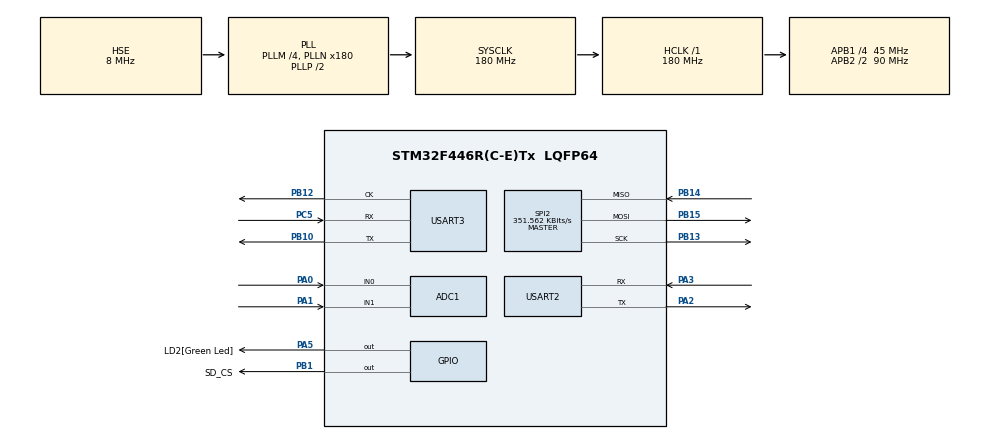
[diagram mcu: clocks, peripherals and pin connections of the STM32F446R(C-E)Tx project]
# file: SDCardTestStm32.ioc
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ADC1.Channel-1\#ChannelRegularConversion=ADC_CHANNEL_0
ADC1.Channel-2\#ChannelRegularConversion=ADC_CHANNEL_1
ADC1.ClockPrescaler=ADC_CLOCK_SYNC_PCLK_DIV4
ADC1.ContinuousConvMode=ENABLE
ADC1.DMAContinuousRequests=DISABLE
ADC1.EOCSelection=ADC_EOC_SINGLE_CONV
ADC1.ExternalTrigConv=ADC_SOFTWARE_START
ADC1.InjNumberOfConversion=0
ADC1.NbrOfConversion=2
ADC1.NbrOfConversionFlag=1
ADC1.Rank-1\#ChannelRegularConversion=1
ADC1.Rank-2\#ChannelRegularConversion=2
ADC1.SamplingTime-1\#ChannelRegularConversion=ADC_SAMPLETIME_28CYCLES
ADC1.SamplingTime-2\#ChannelRegularConversion=ADC_SAMPLETIME_28CYCLES
ADC1.ScanConvMode=ENABLE
ADC1.master=1
Dma.ADC1.0.Direction=DMA_PERIPH_TO_MEMORY
Dma.ADC1.0.FIFOMode=DMA_FIFOMODE_DISABLE
Dma.ADC1.0.Instance=DMA2_Stream0
Dma.ADC1.0.MemDataAlignment=DMA_MDATAALIGN_HALFWORD
Dma.ADC1.0.MemInc=DMA_MINC_ENABLE
Dma.ADC1.0.Mode=DMA_CIRCULAR
Dma.ADC1.0.PeriphDataAlignment=DMA_PDATAALIGN_HALFWORD
Dma.ADC1.0.PeriphInc=DMA_PINC_DISABLE
Dma.ADC1.0.Priority=DMA_PRIORITY_LOW
Dma.Request0=ADC1
Mcu.Family=STM32F4
Mcu.Name=STM32F446R(C-E)Tx
Mcu.Package=LQFP64
NVIC.ADC_IRQn=true\:1\:0\:true\:false\:true\:true\:true\:true
NVIC.DMA2_Stream0_IRQn=true\:0\:0\:false\:false\:true\:false\:true\:true
NVIC.PriorityGroup=NVIC_PRIORITYGROUP_4
NVIC.TIM1_UP_TIM10_IRQn=true\:0\:0\:false\:false\:true\:true\:true\:true
NVIC.USART2_IRQn=true\:0\:0\:false\:false\:true\:true\:true\:true
NVIC.USART3_IRQn=true\:0\:0\:false\:false\:true\:true\:true\:true
PA0-WKUP.Signal=ADCx_IN0
PA1.Signal=ADCx_IN1
PA13.GPIO_Label=TMS
PA13.Mode=Serial_Wire
PA13.Signal=SYS_JTMS-SWDIO
PA14.GPIO_Label=TCK
PA14.Mode=Serial_Wire
PA14.Signal=SYS_JTCK-SWCLK
PA2.Mode=Asynchronous
PA2.Signal=USART2_TX
PA3.Mode=Asynchronous
PA3.Signal=USART2_RX
PA5.GPIO_Label=LD2[Green Led]
PA5.GPIO_PuPd=GPIO_NOPULL
PA5.Signal=GPIO_Output
PB1.GPIO_Label=SD_CS
PB1.GPIO_PuPd=GPIO_PULLDOWN
PB1.GPIO_Speed=GPIO_SPEED_FREQ_VERY_HIGH
PB1.Signal=GPIO_Output
PB10.Mode=Synchronous
PB10.Signal=USART3_TX
PB12.Mode=Synchronous
PB12.Signal=USART3_CK
PB13.GPIO_PuPd=GPIO_PULLDOWN
PB13.GPIO_Speed=GPIO_SPEED_FREQ_VERY_HIGH
PB13.Mode=Full_Duplex_Master
PB13.Signal=SPI2_SCK
PB14.GPIO_PuPd=GPIO_PULLDOWN
PB14.GPIO_Speed=GPIO_SPEED_FREQ_VERY_HIGH
PB14.Mode=Full_Duplex_Master
PB14.Signal=SPI2_MISO
PB15.GPIO_PuPd=GPIO_PULLDOWN
PB15.GPIO_Speed=GPIO_SPEED_FREQ_VERY_HIGH
PB15.Mode=Full_Duplex_Master
PB15.Signal=SPI2_MOSI
PC5.Mode=Synchronous
PC5.Signal=USART3_RX
PH0-OSC_IN.Mode=HSE-External-Oscillator
PH0-OSC_IN.Signal=RCC_OSC_IN
PH1-OSC_OUT.Mode=HSE-External-Oscillator
PH1-OSC_OUT.Signal=RCC_OSC_OUT
ProjectManager.HeapSize=0x200
ProjectManager.StackSize=0x400
ProjectManager.TargetToolchain=STM32CubeIDE
RCC.AHBFreq_Value=180000000
RCC.APB1CLKDivider=RCC_HCLK_DIV4
RCC.APB1Freq_Value=45000000
RCC.APB1TimFreq_Value=90000000
RCC.APB2CLKDivider=RCC_HCLK_DIV2
RCC.APB2Freq_Value=90000000
RCC.APB2TimFreq_Value=180000000
RCC.CortexFreq_Value=180000000
RCC.HCLKFreq_Value=180000000
RCC.HSE_VALUE=8000000
RCC.PLLM=4
RCC.PLLN=180
RCC.PLLSourceVirtual=RCC_PLLSOURCE_HSE
RCC.SYSCLKFreq_VALUE=180000000
RCC.SYSCLKSource=RCC_SYSCLKSOURCE_PLLCLK
RCC.USBFreq_Value=180000000
RCC.VCOOutputFreq_Value=360000000
RTC.Date=8
RTC.HourFormat=RTC_HOURFORMAT_12
RTC.Hours=12
RTC.Minutes=38
RTC.Month=RTC_MONTH_AUGUST
RTC.WeekDay=RTC_WEEKDAY_TUESDAY
SH.ADCx_IN0.0=ADC1_IN0,IN0
SH.ADCx_IN1.0=ADC1_IN1,IN1
SPI2.BaudRatePrescaler=SPI_BAUDRATEPRESCALER_128
SPI2.CalculateBaudRate=351.562 KBits/s
SPI2.Direction=SPI_DIRECTION_2LINES
SPI2.Mode=SPI_MODE_MASTER
SPI2.VirtualType=VM_MASTER
TIM1.Period=10
TIM1.Prescaler=6
TIM1.TIM_MasterOutputTrigger=TIM_TRGO_UPDATE
TIM2.AutoReloadPreload=TIM_AUTORELOAD_PRELOAD_ENABLE
TIM2.Period=16
TIM2.Prescaler=16
TIM2.TIM_MasterOutputTrigger=TIM_TRGO_UPDATE
USART2.VirtualMode=VM_ASYNC
USART3.VirtualMode=VM_SYNC
VP_FATFS_VS_Generic.Mode=User_defined
VP_RTC_VS_RTC_Activate.Mode=RTC_Enabled
VP_RTC_VS_RTC_Calendar.Mode=RTC_Calendar
VP_TIM1_VS_ClockSourceINT.Mode=Internal
VP_TIM2_VS_ClockSourceINT.Mode=Internal
board=custom

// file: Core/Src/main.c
/* USER CODE BEGIN Header */
/**
  ******************************************************************************
  * @file           : main.c
  * @brief          : Main program body
  ******************************************************************************
  * @attention
  *
  * Copyright (c) 2023 STMicroelectronics.
  * All rights reserved.
  *
  * This software is licensed under terms that can be found in the LICENSE file
  * in the root directory of this software component.
  * If no LICENSE file comes with this software, it is provided AS-IS.
  *
  ******************************************************************************
  */
/* USER CODE END Header */
#include "main.h"
#include "fatfs.h"

/* USER CODE BEGIN Includes */
#include <stdio.h>
#include <string.h>
#include <stdarg.h> //for va_list var arg functions
/* USER CODE END Includes */

ADC_HandleTypeDef hadc1;
DMA_HandleTypeDef hdma_adc1;

RTC_HandleTypeDef hrtc;

SPI_HandleTypeDef hspi2;

TIM_HandleTypeDef htim1;
TIM_HandleTypeDef htim2;

UART_HandleTypeDef huart2;
USART_HandleTypeDef husart3;

/* USER CODE BEGIN PV */

uint16_t adraw[2];
uint8_t uart2_raw[10];
volatile int rx_flagA = 0;
volatile int rx_flagB = 0;

/* USER CODE END PV */

void SystemClock_Config(void);
static void MX_GPIO_Init(void);
static void MX_DMA_Init(void);
static void MX_SPI2_Init(void);
static void MX_USART2_UART_Init(void);
static void MX_ADC1_Init(void);
static void MX_RTC_Init(void);
static void MX_TIM1_Init(void);
static void MX_TIM2_Init(void);
static void MX_USART3_Init(void);
/* USER CODE BEGIN PFP */
void myprintf(const char *fmt, ...);
/* USER CODE END PFP */

/* USER CODE BEGIN 0 */
void myprintf(const char *fmt, ...) {
  static char buffer[100];
  va_list args;
  va_start(args, fmt);
  vsnprintf(buffer, sizeof(buffer), fmt, args);
  va_end(args);

  int len = strlen(buffer);
  HAL_UART_Transmit(&huart2, (uint8_t*)buffer, len, -1);
  //HAL_UART_Transmit(&husart3, (uint8_t*)buffer, len, -1);

}

char writeBuf[100];

char strA1[50];
volatile uint16_t ad1_raw[5];
const int adcChannelCount = 2;
volatile int adcConversionComplete = 0;
volatile int lock = 0;
volatile uint32_t millis = 0;
volatile uint32_t conv_rate = 0;

uint32_t ad1 = 0;
uint32_t ad2 = 0;

int32_t sawtooth_buf1[200];
int32_t sawtooth_buf2[200];
int32_t signal_buf[200];
int32_t signal_buf1[200];
int32_t signal_buf2[200];
int32_t kalman_buf1[200];
int32_t kalman_buf2[200];
int32_t peaks_buff1[200];
int32_t peaks_buff2[200];
volatile int signal_buffer_in_queue = 1;
volatile int gidxB = 0;
volatile int gidxA = 0;

volatile uint32_t relative_sawtooth_voltage = 0;

int FindPeak(uint32_t *sig)
{
	int fidxA = 0;

	if((sig[0] < sig[1]) && (sig[2] < sig[1]))
	{
		return 1;
	}
	else
	{
		return 0;
	}
}

void insert_new_value(int32_t *buf, int32_t new_value)
{
	for(gidxA=0;gidxA<199;gidxA++)
	{
		buf[gidxA] = buf[gidxA+1];
	}

	buf[199] = new_value;
}

int flag_FallingEdge = 0;
int flag_saving = 0;

int file_name_index = 0;

FIL log_file;
int log_file_opened = 0;

static float ADC_OLD_Value;
static float P_k1_k1;

static float Q = 0.0001;//Q: Regulation noise, Q increases, dynamic response becomes faster, and convergence stability becomes worse
//static float Q = 0.0005;//Q: Regulation noise, Q increases, dynamic response becomes faster, and convergence stability becomes worse
static float R = 0.005; //R: Test noise, R increases, dynamic response becomes slower, convergence stability becomes better
//static float R = 0.2;
static float Kg = 0;
static float P_k_k1 = 0.5;
static float kalman_adc_old=0;
static int kalman_adc_int = 0;

unsigned long kalman_filter(unsigned long ADC_Value)
{
    float x_k1_k1,x_k_k1;
    //static float ADC_OLD_Value;
    float Z_k;

    float kalman_adc;

    Z_k = ADC_Value;
    x_k1_k1 = kalman_adc_old;

    x_k_k1 = x_k1_k1;
    P_k_k1 = P_k1_k1 + Q;

    Kg = P_k_k1/(P_k_k1 + R);

    kalman_adc = x_k_k1 + Kg * (Z_k - kalman_adc_old);
    P_k1_k1 = (1 - Kg)*P_k_k1;
    P_k_k1 = P_k1_k1;

    ADC_OLD_Value = ADC_Value;
    kalman_adc_old = kalman_adc;
    kalman_adc_int = (int)kalman_adc;
    return kalman_adc;
}

int startWriting(FIL *fil, char *fname)
{
	FRESULT fres; //Result after operations
	fres = f_open(fil, fname, FA_WRITE | FA_OPEN_ALWAYS | FA_CREATE_ALWAYS);
	if(fres == FR_OK)
	{
		myprintf("Writing '%s' \r\n", fname);
		log_file_opened = 1;
		return 1;
	}
	else
	{
		myprintf("f_open error %s (%i)\r\n", fname, fres);
		return -1;
	}
}

int keepWriting(FIL *fil, int data)
{
	FRESULT fres;
	char ch_data[6];
	UINT bytesWrote;
	if(log_file_opened == 0)
	{
		return -1;
	}
	sprintf(ch_data, "%04d\n", data);
	fres = f_write(fil, ch_data, 5, &bytesWrote);
	if(fres == FR_OK)
	{
		return 1;
	}
	else
	{
		myprintf("f_write error (%i)\r\n");
		return -1;
	}
}

int endWriting(FIL *fil)
{
	if(log_file_opened == 0)
	{
		return -1;
	}

	f_close(fil);

	log_file_opened = 0;

	return 1;
}

int getSimplifiedSlope(int32_t *buf)
{
	int32_t avg1 = (buf[0] + buf[1] + buf[2] + buf[3] + buf[4]) / 5;
	int32_t avg2 = (buf[5] + buf[6] + buf[7] + buf[8] + buf[9]) / 5;

	if((avg1 - avg2) > 1000)
	{
		return 1;
	}
	else
	{
		return 0;
	}
}

void DMA_ADC_Complete(DMA_HandleTypeDef *_hdma)
{

}

int max = 0;
int min = 5000;

int gmaxA = 0;
int gminA = 0;
int midlineA = 0;
int dripOff = 0;

int32_t GetMidLine(int32_t *gbuff, uint32_t sz)
{
	int lidxA = 0;

	for(lidxA = 1; lidxA<(sz - 1 ); lidxA++)
	{
		if(gbuff[lidxA] > max)
		{
			max = gbuff[lidxA];
		}
	}

	for(lidxA = 1; lidxA<(sz - 1 ); lidxA++)
	{
		if(gbuff[lidxA] < min)
		{
			min = gbuff[lidxA];
		}
	}

	return (((max - min)/2) + min);
}

void HAL_ADC_ConvCpltCallback(ADC_HandleTypeDef* hadc)
{
	adcConversionComplete = 1;
	ad1 = adraw[0]; // HAL_ADC_GetValue(&hadc1);
	ad2 = adraw[1]; // HAL_ADC_GetValue(&hadc1);
	conv_rate++;

	//insert_new_value(sawtooth_buf, (int32_t)ad1);
	//insert_new_value(signal_buf, (int32_t)ad2);

	if(rx_flagA == 0)
	{
		if(gidxB == 200)
		{
			if(signal_buffer_in_queue == 1)
			{
				signal_buffer_in_queue = 2;
			}
			else
			{
				signal_buffer_in_queue = 1;
			}
			gidxB = 0;
		}

		if(gidxB > 5)
		{
			if(gmaxA < kalman_buf1[gidxB])
			{
				gmaxA = kalman_buf1[gidxB];
			}

			if(gminA > kalman_buf1[gidxB])
			{
				gminA = kalman_buf1[gidxB];
			}
		}

		if(gidxB == 195)
		{
			midlineA = (((gmaxA - gminA)/2) + gminA);
		}

		if(signal_buffer_in_queue == 1)
		{
			signal_buf1[gidxB] = ad1;
			sawtooth_buf1[gidxB] = ad2;
			kalman_buf1[gidxB] = kalman_filter(signal_buf1[gidxB]);

			if(gidxB==0)
			{
				gminA = kalman_buf1[0];
				gmaxA = kalman_buf1[0];
			}

			if((gidxB >= 5) && (gidxB < 190))
			{

				if(FindPeak(&kalman_buf1[gidxB-3]) && (kalman_buf1[gidxB-3] > midlineA))
				{
					if(dripOff == 0)
					{
						peaks_buff1[gidxB] = 2000;
						dripOff = 20;
						relative_sawtooth_voltage = (3300000 / 4096) * sawtooth_buf1[gidxB-3]; // sawtooth_buf1[gidxB-3]; //
					}
					else
					{
						peaks_buff1[gidxB] = 500;
					}
				}
				else
				{
					peaks_buff1[gidxB] = 500;
				}
			}
			else
			{
				peaks_buff1[gidxB] = 500;
			}
		}
		else
		{
			signal_buf2[gidxB] = ad1;
			sawtooth_buf2[gidxB] = ad2;
			kalman_buf2[gidxB] = kalman_filter(signal_buf2[gidxB]);

			if(gidxB==0)
			{
				gminA = kalman_buf2[0];
				gmaxA = kalman_buf2[0];
			}

			if((gidxB >= 5) && (gidxB < 190))
			{
				if(FindPeak(&kalman_buf2[gidxB-3]) && (kalman_buf2[gidxB-3] > midlineA))
				{
					if(dripOff == 0)
					{
						peaks_buff2[gidxB] = 2000;
						relative_sawtooth_voltage = (3300000 / 4096) * sawtooth_buf2[gidxB-3]; // sawtooth_buf2[gidxB-3]; //
						dripOff = 20;
					}
					else
					{
						peaks_buff2[gidxB] = 500;
					}
				}
				else
				{
					peaks_buff2[gidxB] = 500;
				}
			}
			else
			{
				peaks_buff2[gidxB] = 500;
			}
		}
		gidxB++;
		if(dripOff > 0)
		{
			dripOff--;
		}
	}

	// HAL_ADC_Start_IT(&hadc1);
	HAL_ADC_Start_DMA(&hadc1, (uint32_t *)adraw, adcChannelCount);
}

uint32_t crate = 0;

uint32_t __t2_cntr = 0;
uint32_t __dripA = 0;
uint32_t flag_saving_interval = 0;

void HAL_TIM_PeriodElapsedCallback(TIM_HandleTypeDef *htim)
{
	if(htim == &htim1)
	{
		if(__t2_cntr < 3)
		{
			__t2_cntr++;
		}
		else
		{
			__t2_cntr = 0;
		}

		if(__dripA > 0)
		{
			__dripA++;

			if(__dripA > 1500) // 500uS
			{
				flag_FallingEdge = 0;
				__dripA = 0;
			}
		}

		if(flag_saving_interval > 0)
		{
			if(flag_saving_interval == 1)
			{
				endWriting(&log_file);
			}
			flag_saving_interval--;
		}
	}
}

void HAL_UART_RxCpltCallback(UART_HandleTypeDef *huart)
{
	if(huart == &huart2)
	{
		if(uart2_raw[0] == 'a')
		{
			rx_flagA = 1;
			//HAL_UART_Receive_IT(&huart2, uart2_raw, 1);
		}

		if(uart2_raw[0] == 'b')
		{
			rx_flagB = 1;
			//HAL_UART_Receive_IT(&huart2, uart2_raw, 1);
		}
	}
	HAL_UART_Receive_IT(&huart2, uart2_raw, 1);
}

void HAL_UART_TxCpltCallback(UART_HandleTypeDef *huart)
{
	;
}

/* USER CODE END 0 */

int main(void)
{
  /* USER CODE BEGIN 1 */

	uint32_t a_shot = 0;
	uint32_t b_shot = 0;

	int lidxA = 0;

	char log_file_name[10];

  /* USER CODE END 1 */

  /* MCU Configuration--------------------------------------------------------*/

  /* Reset of all peripherals, Initializes the Flash interface and the Systick. */
  HAL_Init();

  /* Configure the system clock */
  SystemClock_Config();

  /* Initialize all configured peripherals */
  MX_GPIO_Init();
  MX_DMA_Init();
  MX_SPI2_Init();
  MX_USART2_UART_Init();
  MX_FATFS_Init();
  MX_ADC1_Init();
  MX_RTC_Init();
  MX_TIM1_Init();
  MX_TIM2_Init();
  MX_USART3_Init();
  /* USER CODE BEGIN 2 */

  	//HAL_ADC_Start_IT(&hadc1);
    HAL_ADC_Start_DMA(&hadc1, (uint32_t *)adraw, adcChannelCount);
    HAL_TIM_Base_Start(&htim1);
    HAL_TIM_Base_Start(&htim2);

    HAL_UART_Receive_IT(&huart2, uart2_raw, 1);

    myprintf("\r\n~ ADC Peak Detector ~\r\n\r\n");
    myprintf("\r\n~ ADC Peak Detector ~\r\n\r\n");
    myprintf("\r\n~ ADC Peak Detector ~\r\n\r\n");

    HAL_Delay(500); //a short delay is important to let the SD card settle

    //some variables for FatFs
    FATFS FatFs; 	//Fatfs handle
    FIL fil; 		//File handle
    FRESULT fres; //Result after operations
    UINT bytesWrote;
/*********************************************************/
    //Open the file system
//    fres = f_mount(&FatFs, "", 1); //1=mount now
//    if (fres != FR_OK) {
//  	myprintf("f_mount error (%i)\r\n", fres);
//  	while(1);
//    }
/*********************************************************/

/*********************************************************/
    //Let's get some statistics from the SD card
//    DWORD free_clusters, free_sectors, total_sectors;
//    FATFS* getFreeFs;
//    fres = f_getfree("", &free_clusters, &getFreeFs);
//    if (fres != FR_OK)
//    {
//    	myprintf("f_getfree error (%i)\r\n", fres);
//    	while(1);
//    }
/*********************************************************/

    //Formula comes from ChaN's documentation
    ////total_sectors = (getFreeFs->n_fatent - 2) * getFreeFs->csize;
    ////free_sectors = free_clusters * getFreeFs->csize;

    ////myprintf("SD card stats:\r\n%10lu KiB total drive space.\r\n%10lu KiB available.\r\n", total_sectors / 2, free_sectors / 2);

    //Now let's try to open file "test.txt"
  /*  fres = f_open(&fil, "test.txt", FA_READ);
    if (fres != FR_OK)
    {
    	myprintf("f_open error (%i)\r\n");
    	while(1);
    }
    myprintf("I was able to open 'test.txt' for reading!\r\n");
	*/
    //Read 30 bytes from "test.txt" on the SD card
    ////BYTE readBuf[30];

    //We can either use f_read OR f_gets to get data out of files
    //f_gets is a wrapper on f_read that does some string formatting for us
  /*  TCHAR* rres = f_gets((TCHAR*)readBuf, 30, &fil);
    if(rres != 0)
    {
    	myprintf("Read string from 'test.txt' contents: %s\r\n", readBuf);
    }
    else
    {
    	myprintf("f_gets error (%i)\r\n", fres);
    }
	*/

    //Be a tidy kiwi - don't forget to close your file!
    //f_close(&fil);

    //Now let's try and write a file "write.txt"
    /*
    fres = f_open(&fil, "write.txt", FA_WRITE | FA_OPEN_ALWAYS | FA_CREATE_ALWAYS);
    if(fres == FR_OK)
    {
    	myprintf("I was able to open 'write.txt' for writing\r\n");
    }
    else
    {
    	myprintf("f_open error (%i)\r\n", fres);
    }
    */

    //Copy in a string
    //strncpy((char*)readBuf, "a new file is made!", 19);
    //readBuf[19] = '\0'; // Add the null terminator
    /*
    fres = f_write(&fil, readBuf, 19, &bytesWrote);
    if(fres == FR_OK)
    {
    	myprintf("Wrote %i bytes to 'write.txt'!\r\n", bytesWrote);
    }
    else
    {
    	myprintf("f_write error (%i)\r\n");
    }
    */

    //Be a tidy kiwi - don't forget to close your file!
    //f_close(&fil);

    //We're done, so de-mount the drive
    //f_mount(NULL, "", 0);

    // Mount the file system
    /*    if(f_mount(&FatFs, "", 0) != FR_OK) {
          myprintf("ERROR : Cannot mount SD CARD.\r\n");
          while(1);
        }
     */

        // Open or create the file to write PA0 and PA1 data
        /*
    	fres = f_open(&fil, "Data.txt", FA_WRITE | FA_OPEN_ALWAYS | FA_CREATE_ALWAYS);
        if(fres != FR_OK) {
          myprintf("Failed to open 'Data.txt' for writing\r\n");
          while(1);
        }
        // Move the file pointer to the end, so new data won't overwrite existing data
        f_lseek(&fil, f_size(&fil));
        */
  /* USER CODE END 2 */

  /* Infinite loop */
  /* USER CODE BEGIN WHILE */

  uint32_t millis = 0;

    while(1)
    {
    	millis = HAL_GetTick();

		if(HAL_GetTick() > (a_shot + 1000))
		{
		  a_shot = HAL_GetTick();

//		  if(adcConversionComplete == 1)
//		  {
//			  adcConversionComplete = 0;
//			  sprintf(strA1, "A0 - %d A1 - %d CONV RATE: %d\r\n", ad1, ad2, conv_rate);
//			  myprintf("%s", strA1);
//			  ////HAL_UART_Transmit(&huart2, strA1, strlen(strA1), 0xFFFF);
//			  crate = conv_rate;
//			  conv_rate = 0;
//
//		  }

		  float t = millis/1000.0;
		  if(rx_flagA == 1)
		  {
			  if(adcConversionComplete == 1)
			  {
				  adcConversionComplete = 0;
				  for(lidxA=0;lidxA<200;lidxA++)
				  {
					  //myprintf("A0:%d, A1:%d\n", signal_buf[lidxA], sawtooth_buf[lidxA]);
					  if(signal_buffer_in_queue == 2)
					  {
						  //myprintf("A0:%d\n", signal_buf1[lidxA]);
						  myprintf("%d,%d,%d,%d,%d\r\n", signal_buf1[lidxA], sawtooth_buf1[lidxA], kalman_buf1[lidxA], peaks_buff1[lidxA], midlineA); //GetMidLine(kalman_buf1, 200));
					  }
					  else
					  {
						  //myprintf("A0:%d\n", signal_buf2[lidxA]);
						  myprintf("%d,%d,%d,%d,%d\r\n", signal_buf2[lidxA], sawtooth_buf2[lidxA], kalman_buf2[lidxA], peaks_buff2[lidxA], midlineA); // GetMidLine(kalman_buf2, 200));
					  }
				  }
			  }
			  HAL_Delay(2500);
			  gidxB = 0; // Fresh Copy of ADC
			  rx_flagA = 0;
			  rx_flagB = 0;
		  }

		  if(rx_flagB == 1)
		  {
			  myprintf("Freq : %d\r\n", ((relative_sawtooth_voltage * 417) + 550000));
			  HAL_Delay(100);
			  rx_flagB = 0;
		  }
		}

		myprintf("Freq : %d\r\n", ((relative_sawtooth_voltage * 417) + 550000));

//		if(flag_FallingEdge == 0)
//		{
//			if(getSimplifiedSlope(sawtooth_buf) == 1)
//			{
//				flag_FallingEdge = 1;
//				__dripA = 1;
//
//				if(flag_saving_interval == 0)
//				{
//					file_name_index++;
//					sprintf(log_file_name, "%04d.txt", file_name_index);
//					startWriting(&log_file, log_file_name);
//					flag_saving = 1;
//					flag_saving_interval = 1000000;
//				}
//			}
//		}
    }
//  while (1)
//  {
//	  //Read PA0 and PA1 data
//	    HAL_ADC_Start(&hadc1);
//	    if(HAL_ADC_PollForConversion(&hadc1, 5) == HAL_OK) {
//	      adcValuePA0 = HAL_ADC_GetValue(&hadc1);
//	    }
//	    HAL_ADC_PollForConversion(&hadc2, 5);
//	    adcValuePA1 = HAL_ADC_GetValue(&hadc2);
//	    HAL_ADC_Stop(&hadc1);
//
//	    //Write PA0 and PA1 data to file
//	    char writeBuf[100];
//	    sprintf(writeBuf, "%lu,%lu\r\n", adcValuePA0, adcValuePA1);
//
//	    UINT bytesWrote;
//	    f_write(&fil, writeBuf, strlen(writeBuf), &bytesWrote);
//
//	    // Force the data to be written to the disk
//	    f_sync(&fil);
//
//	    // Blink the LED every second
//	   // HAL_GPIO_TogglePin(LD2_GPIO_Port, LD2_Pin);
//	    HAL_Delay(5);
//	  }
        /*
        while (1)
        {

        	uint32_t startTimestamp = HAL_GetTick(); // Record start timestamp

            // Sample 4096 times per period
            for (int i = 0; i < 4096; ++i) {
              // Read ADC data from A0 and A1
              HAL_ADC_Start(&hadc1);
              HAL_ADC_Start(&hadc2);

              if (HAL_ADC_PollForConversion(&hadc1, 1000) != HAL_OK ||
                  HAL_ADC_PollForConversion(&hadc2, 1000) != HAL_OK) {
                Error_Handler(); // Handle ADC conversion error
              }

              uint32_t adcValuePA0 = HAL_ADC_GetValue(&hadc1);
              uint32_t adcValuePA1 = HAL_ADC_GetValue(&hadc2);

              // Get current timestamp
              RTC_TimeTypeDef currentTime;
              HAL_RTC_GetTime(&hrtc, &currentTime, RTC_FORMAT_BIN);

              // Format the data with timestamp and save to the buffer
              snprintf(writeBuf, sizeof(writeBuf), "%02d:%02d:%02d.%03d,%lu,%lu\r\n",
                       currentTime.Hours, currentTime.Minutes, currentTime.Seconds,
                       HAL_GetTick() % 1000, adcValuePA0, adcValuePA1);

              // Write data to the file
              UINT bytesWrote;
              if (f_write(&fil, writeBuf, strlen(writeBuf), &bytesWrote) != FR_OK) {
                Error_Handler(); // Handle file writing error
              }
            }

            // Force the data to be written to the disk
            if (f_sync(&fil) != FR_OK) {
              Error_Handler(); // Handle file sync error
            }

            uint32_t endTimestamp = HAL_GetTick(); // Record end timestamp
           //uint32_t elapsedMilliseconds = endTimestamp - startTimestamp;

            // Delay to maintain the desired sampling frequency

              HAL_Delay(5);
            }
        */
    /* USER CODE END WHILE */

}

void SystemClock_Config(void)
{
  RCC_OscInitTypeDef RCC_OscInitStruct = {0};
  RCC_ClkInitTypeDef RCC_ClkInitStruct = {0};

  /** Configure the main internal regulator output voltage
  */
  __HAL_RCC_PWR_CLK_ENABLE();
  __HAL_PWR_VOLTAGESCALING_CONFIG(PWR_REGULATOR_VOLTAGE_SCALE1);

  /** Initializes the RCC Oscillators according to the specified parameters
  * in the RCC_OscInitTypeDef structure.
  */
  RCC_OscInitStruct.OscillatorType = RCC_OSCILLATORTYPE_LSI|RCC_OSCILLATORTYPE_HSE;
  RCC_OscInitStruct.HSEState = RCC_HSE_ON;
  RCC_OscInitStruct.LSEState = RCC_LSE_OFF;
  RCC_OscInitStruct.LSIState = RCC_LSI_ON;
  RCC_OscInitStruct.PLL.PLLState = RCC_PLL_ON;
  RCC_OscInitStruct.PLL.PLLSource = RCC_PLLSOURCE_HSE;
  RCC_OscInitStruct.PLL.PLLM = 4;
  RCC_OscInitStruct.PLL.PLLN = 180;
  RCC_OscInitStruct.PLL.PLLP = RCC_PLLP_DIV2;
  RCC_OscInitStruct.PLL.PLLQ = 2;
  RCC_OscInitStruct.PLL.PLLR = 2;
  if (HAL_RCC_OscConfig(&RCC_OscInitStruct) != HAL_OK)
  {
    Error_Handler();
  }

  /** Activate the Over-Drive mode
  */
  if (HAL_PWREx_EnableOverDrive() != HAL_OK)
  {
    Error_Handler();
  }

  /** Initializes the CPU, AHB and APB buses clocks
  */
  RCC_ClkInitStruct.ClockType = RCC_CLOCKTYPE_HCLK|RCC_CLOCKTYPE_SYSCLK
                              |RCC_CLOCKTYPE_PCLK1|RCC_CLOCKTYPE_PCLK2;
  RCC_ClkInitStruct.SYSCLKSource = RCC_SYSCLKSOURCE_PLLCLK;
  RCC_ClkInitStruct.AHBCLKDivider = RCC_SYSCLK_DIV1;
  RCC_ClkInitStruct.APB1CLKDivider = RCC_HCLK_DIV4;
  RCC_ClkInitStruct.APB2CLKDivider = RCC_HCLK_DIV2;

  if (HAL_RCC_ClockConfig(&RCC_ClkInitStruct, FLASH_LATENCY_5) != HAL_OK)
  {
    Error_Handler();
  }
}

static void MX_ADC1_Init(void)
{

  ADC_ChannelConfTypeDef sConfig = {0};

  /** Configure the global features of the ADC (Clock, Resolution, Data Alignment and number of conversion)
  */
  hadc1.Instance = ADC1;
  hadc1.Init.ClockPrescaler = ADC_CLOCK_SYNC_PCLK_DIV4;
  hadc1.Init.Resolution = ADC_RESOLUTION_12B;
  hadc1.Init.ScanConvMode = ENABLE;
  hadc1.Init.ContinuousConvMode = ENABLE;
  hadc1.Init.DiscontinuousConvMode = DISABLE;
  hadc1.Init.ExternalTrigConvEdge = ADC_EXTERNALTRIGCONVEDGE_NONE;
  hadc1.Init.ExternalTrigConv = ADC_SOFTWARE_START;
  hadc1.Init.DataAlign = ADC_DATAALIGN_RIGHT;
  hadc1.Init.NbrOfConversion = 2;
  hadc1.Init.DMAContinuousRequests = DISABLE;
  hadc1.Init.EOCSelection = ADC_EOC_SINGLE_CONV;
  if (HAL_ADC_Init(&hadc1) != HAL_OK)
  {
    Error_Handler();
  }

  /** Configure for the selected ADC regular channel its corresponding rank in the sequencer and its sample time.
  */
  sConfig.Channel = ADC_CHANNEL_0;
  sConfig.Rank = 1;
  sConfig.SamplingTime = ADC_SAMPLETIME_28CYCLES;
  if (HAL_ADC_ConfigChannel(&hadc1, &sConfig) != HAL_OK)
  {
    Error_Handler();
  }

  /** Configure for the selected ADC regular channel its corresponding rank in the sequencer and its sample time.
  */
  sConfig.Channel = ADC_CHANNEL_1;
  sConfig.Rank = 2;
  if (HAL_ADC_ConfigChannel(&hadc1, &sConfig) != HAL_OK)
  {
    Error_Handler();
  }

}

static void MX_RTC_Init(void)
{

  RTC_TimeTypeDef sTime = {0};
  RTC_DateTypeDef sDate = {0};

  /** Initialize RTC Only
  */
  hrtc.Instance = RTC;
  hrtc.Init.HourFormat = RTC_HOURFORMAT_12;
  hrtc.Init.AsynchPrediv = 127;
  hrtc.Init.SynchPrediv = 255;
  hrtc.Init.OutPut = RTC_OUTPUT_DISABLE;
  hrtc.Init.OutPutPolarity = RTC_OUTPUT_POLARITY_HIGH;
  hrtc.Init.OutPutType = RTC_OUTPUT_TYPE_OPENDRAIN;
  if (HAL_RTC_Init(&hrtc) != HAL_OK)
  {
    Error_Handler();
  }

  /** Initialize RTC and set the Time and Date
  */
  sTime.Hours = 0x12;
  sTime.Minutes = 0x38;
  sTime.Seconds = 0x0;
  sTime.TimeFormat = RTC_HOURFORMAT12_AM;
  sTime.DayLightSaving = RTC_DAYLIGHTSAVING_NONE;
  sTime.StoreOperation = RTC_STOREOPERATION_RESET;
  if (HAL_RTC_SetTime(&hrtc, &sTime, RTC_FORMAT_BCD) != HAL_OK)
  {
    Error_Handler();
  }
  sDate.WeekDay = RTC_WEEKDAY_TUESDAY;
  sDate.Month = RTC_MONTH_AUGUST;
  sDate.Date = 0x8;
  sDate.Year = 0x0;

  if (HAL_RTC_SetDate(&hrtc, &sDate, RTC_FORMAT_BCD) != HAL_OK)
  {
    Error_Handler();
  }

}

static void MX_SPI2_Init(void)
{

  /* SPI2 parameter configuration*/
  hspi2.Instance = SPI2;
  hspi2.Init.Mode = SPI_MODE_MASTER;
  hspi2.Init.Direction = SPI_DIRECTION_2LINES;
  hspi2.Init.DataSize = SPI_DATASIZE_8BIT;
  hspi2.Init.CLKPolarity = SPI_POLARITY_LOW;
  hspi2.Init.CLKPhase = SPI_PHASE_1EDGE;
  hspi2.Init.NSS = SPI_NSS_SOFT;
  hspi2.Init.BaudRatePrescaler = SPI_BAUDRATEPRESCALER_128;
  hspi2.Init.FirstBit = SPI_FIRSTBIT_MSB;
  hspi2.Init.TIMode = SPI_TIMODE_DISABLE;
  hspi2.Init.CRCCalculation = SPI_CRCCALCULATION_DISABLE;
  hspi2.Init.CRCPolynomial = 10;
  if (HAL_SPI_Init(&hspi2) != HAL_OK)
  {
    Error_Handler();
  }

}

static void MX_TIM1_Init(void)
{

  TIM_ClockConfigTypeDef sClockSourceConfig = {0};
  TIM_MasterConfigTypeDef sMasterConfig = {0};

  htim1.Instance = TIM1;
  htim1.Init.Prescaler = 6;
  htim1.Init.CounterMode = TIM_COUNTERMODE_UP;
  htim1.Init.Period = 10;
  htim1.Init.ClockDivision = TIM_CLOCKDIVISION_DIV1;
  htim1.Init.RepetitionCounter = 0;
  htim1.Init.AutoReloadPreload = TIM_AUTORELOAD_PRELOAD_DISABLE;
  if (HAL_TIM_Base_Init(&htim1) != HAL_OK)
  {
    Error_Handler();
  }
  sClockSourceConfig.ClockSource = TIM_CLOCKSOURCE_INTERNAL;
  if (HAL_TIM_ConfigClockSource(&htim1, &sClockSourceConfig) != HAL_OK)
  {
    Error_Handler();
  }
  sMasterConfig.MasterOutputTrigger = TIM_TRGO_UPDATE;
  sMasterConfig.MasterSlaveMode = TIM_MASTERSLAVEMODE_DISABLE;
  if (HAL_TIMEx_MasterConfigSynchronization(&htim1, &sMasterConfig) != HAL_OK)
  {
    Error_Handler();
  }

}

static void MX_TIM2_Init(void)
{

  TIM_ClockConfigTypeDef sClockSourceConfig = {0};
  TIM_MasterConfigTypeDef sMasterConfig = {0};

  htim2.Instance = TIM2;
  htim2.Init.Prescaler = 16;
  htim2.Init.CounterMode = TIM_COUNTERMODE_UP;
  htim2.Init.Period = 16;
  htim2.Init.ClockDivision = TIM_CLOCKDIVISION_DIV1;
  htim2.Init.AutoReloadPreload = TIM_AUTORELOAD_PRELOAD_ENABLE;
  if (HAL_TIM_Base_Init(&htim2) != HAL_OK)
  {
    Error_Handler();
  }
  sClockSourceConfig.ClockSource = TIM_CLOCKSOURCE_INTERNAL;
  if (HAL_TIM_ConfigClockSource(&htim2, &sClockSourceConfig) != HAL_OK)
  {
    Error_Handler();
  }
  sMasterConfig.MasterOutputTrigger = TIM_TRGO_UPDATE;
  sMasterConfig.MasterSlaveMode = TIM_MASTERSLAVEMODE_DISABLE;
  if (HAL_TIMEx_MasterConfigSynchronization(&htim2, &sMasterConfig) != HAL_OK)
  {
    Error_Handler();
  }

}

static void MX_USART2_UART_Init(void)
{

  huart2.Instance = USART2;
  huart2.Init.BaudRate = 115200;
  huart2.Init.WordLength = UART_WORDLENGTH_8B;
  huart2.Init.StopBits = UART_STOPBITS_1;
  huart2.Init.Parity = UART_PARITY_NONE;
  huart2.Init.Mode = UART_MODE_TX_RX;
  huart2.Init.HwFlowCtl = UART_HWCONTROL_NONE;
  huart2.Init.OverSampling = UART_OVERSAMPLING_16;
  if (HAL_UART_Init(&huart2) != HAL_OK)
  {
    Error_Handler();
  }

}

static void MX_USART3_Init(void)
{

  husart3.Instance = USART3;
  husart3.Init.BaudRate = 115200;
  husart3.Init.WordLength = USART_WORDLENGTH_8B;
  husart3.Init.StopBits = USART_STOPBITS_1;
  husart3.Init.Parity = USART_PARITY_NONE;
  husart3.Init.Mode = USART_MODE_TX_RX;
  husart3.Init.CLKPolarity = USART_POLARITY_LOW;
  husart3.Init.CLKPhase = USART_PHASE_1EDGE;
  husart3.Init.CLKLastBit = USART_LASTBIT_DISABLE;
  if (HAL_USART_Init(&husart3) != HAL_OK)
  {
    Error_Handler();
  }

}

static void MX_DMA_Init(void)
{

  /* DMA controller clock enable */
  __HAL_RCC_DMA2_CLK_ENABLE();

  /* DMA interrupt init */
  /* DMA2_Stream0_IRQn interrupt configuration */
  HAL_NVIC_SetPriority(DMA2_Stream0_IRQn, 0, 0);
  HAL_NVIC_EnableIRQ(DMA2_Stream0_IRQn);

}

static void MX_GPIO_Init(void)
{
  GPIO_InitTypeDef GPIO_InitStruct = {0};

  /* GPIO Ports Clock Enable */
  __HAL_RCC_GPIOH_CLK_ENABLE();
  __HAL_RCC_GPIOA_CLK_ENABLE();
  __HAL_RCC_GPIOC_CLK_ENABLE();
  __HAL_RCC_GPIOB_CLK_ENABLE();

  /*Configure GPIO pin Output Level */
  HAL_GPIO_WritePin(LD2_GPIO_Port, LD2_Pin, GPIO_PIN_RESET);

  /*Configure GPIO pin Output Level */
  HAL_GPIO_WritePin(SD_CS_GPIO_Port, SD_CS_Pin, GPIO_PIN_RESET);

  /*Configure GPIO pin : LD2_Pin */
  GPIO_InitStruct.Pin = LD2_Pin;
  GPIO_InitStruct.Mode = GPIO_MODE_OUTPUT_PP;
  GPIO_InitStruct.Pull = GPIO_NOPULL;
  GPIO_InitStruct.Speed = GPIO_SPEED_FREQ_LOW;
  HAL_GPIO_Init(LD2_GPIO_Port, &GPIO_InitStruct);

  /*Configure GPIO pin : SD_CS_Pin */
  GPIO_InitStruct.Pin = SD_CS_Pin;
  GPIO_InitStruct.Mode = GPIO_MODE_OUTPUT_PP;
  GPIO_InitStruct.Pull = GPIO_PULLDOWN;
  GPIO_InitStruct.Speed = GPIO_SPEED_FREQ_VERY_HIGH;
  HAL_GPIO_Init(SD_CS_GPIO_Port, &GPIO_InitStruct);

}

void Error_Handler(void)
{
  __disable_irq();
  while (1)
  {
  }
}
